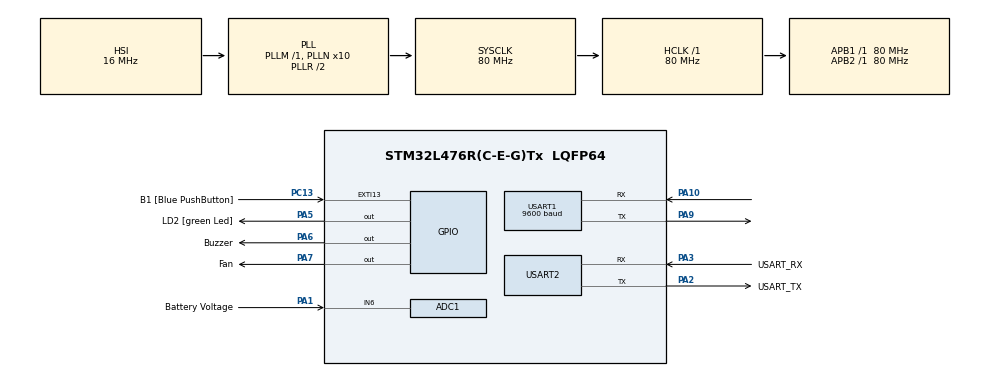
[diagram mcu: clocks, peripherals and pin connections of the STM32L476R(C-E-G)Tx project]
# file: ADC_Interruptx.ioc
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ADC1.Channel-1\#ChannelRegularConversion=ADC_CHANNEL_6
ADC1.EnableAnalogWatchDog1=false
ADC1.NbrOfConversionFlag=1
ADC1.OffsetNumber-1\#ChannelRegularConversion=ADC_OFFSET_NONE
ADC1.Rank-1\#ChannelRegularConversion=1
ADC1.SamplingTime-1\#ChannelRegularConversion=ADC_SAMPLETIME_2CYCLES_5
ADC1.master=1
Mcu.Family=STM32L4
Mcu.Name=STM32L476R(C-E-G)Tx
Mcu.Package=LQFP64
NVIC.PriorityGroup=NVIC_PRIORITYGROUP_4
NVIC.USART1_IRQn=true\:0\:0\:false\:true\:true\:2\:true\:true\:true
NVIC.USART2_IRQn=true\:0\:0\:false\:true\:true\:1\:true\:true\:true
PA1.GPIO_Label=Battery Voltage
PA1.Signal=ADCx_IN6
PA10.Mode=Asynchronous
PA10.Signal=USART1_RX
PA13\ (JTMS-SWDIO).GPIO_Label=TMS
PA13\ (JTMS-SWDIO).Signal=SYS_JTMS-SWDIO
PA14\ (JTCK-SWCLK).GPIO_Label=TCK
PA14\ (JTCK-SWCLK).Signal=SYS_JTCK-SWCLK
PA2.GPIO_Label=USART_TX
PA2.GPIO_Mode=GPIO_MODE_AF_PP
PA2.GPIO_PuPd=GPIO_NOPULL
PA2.GPIO_Speed=GPIO_SPEED_FREQ_VERY_HIGH
PA2.Mode=Asynchronous
PA2.Signal=USART2_TX
PA3.GPIO_Label=USART_RX
PA3.GPIO_Mode=GPIO_MODE_AF_PP
PA3.GPIO_PuPd=GPIO_NOPULL
PA3.GPIO_Speed=GPIO_SPEED_FREQ_VERY_HIGH
PA3.Mode=Asynchronous
PA3.Signal=USART2_RX
PA5.GPIO_Label=LD2 [green Led]
PA5.GPIO_ModeDefaultOutputPP=GPIO_MODE_OUTPUT_PP
PA5.GPIO_PuPd=GPIO_NOPULL
PA5.GPIO_Speed=GPIO_SPEED_FREQ_LOW
PA5.Signal=GPIO_Output
PA6.GPIO_Label=Buzzer
PA6.Signal=GPIO_Output
PA7.GPIO_Label=Fan
PA7.Signal=GPIO_Output
PA9.Mode=Asynchronous
PA9.Signal=USART1_TX
PB3\ (JTDO-TRACESWO).GPIO_Label=SWO
PB3\ (JTDO-TRACESWO).Signal=SYS_JTDO-SWO
PC13.GPIO_Label=B1 [Blue PushButton]
PC13.GPIO_ModeDefaultEXTI=GPIO_MODE_IT_FALLING
PC13.GPIO_PuPd=GPIO_NOPULL
PC13.Signal=GPXTI13
PC14-OSC32_IN\ (PC14).Signal=RCC_OSC32_IN
PC15-OSC32_OUT\ (PC15).Signal=RCC_OSC32_OUT
PH0-OSC_IN\ (PH0).Signal=RCC_OSC_IN
PH1-OSC_OUT\ (PH1).Signal=RCC_OSC_OUT
ProjectManager.HeapSize=0x200
ProjectManager.StackSize=0x400
ProjectManager.TargetToolchain=STM32CubeIDE
RCC.ADCFreq_Value=64000000
RCC.AHBFreq_Value=80000000
RCC.APB1Freq_Value=80000000
RCC.APB1TimFreq_Value=80000000
RCC.APB2Freq_Value=80000000
RCC.APB2TimFreq_Value=80000000
RCC.CortexFreq_Value=80000000
RCC.HCLKFreq_Value=80000000
RCC.HSE_VALUE=8000000
RCC.HSI_VALUE=16000000
RCC.LSE_VALUE=32768
RCC.MSI_VALUE=4000000
RCC.PLLN=10
RCC.PLLSourceVirtual=RCC_PLLSOURCE_HSI
RCC.PREFETCH_ENABLE=1
RCC.SYSCLKFreq_VALUE=80000000
RCC.SYSCLKSource=RCC_SYSCLKSOURCE_PLLCLK
RCC.USBFreq_Value=64000000
RCC.VCOOutputFreq_Value=160000000
SH.ADCx_IN6.0=ADC1_IN6,IN6-Single-Ended
USART1.BaudRate=9600
USART1.VirtualMode-Asynchronous=VM_ASYNC
USART2.VirtualMode-Asynchronous=VM_ASYNC
VP_IWDG_VS_IWDG.Mode=IWDG_Activate
board=NUCLEO-L476RG

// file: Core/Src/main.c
/* USER CODE BEGIN Header */
/**
  ******************************************************************************
  * @file           : main.c
  * @brief          : Main program body
  ******************************************************************************
  * @attention
  *
  * Copyright (c) 2024 STMicroelectronics.
  * All rights reserved.
  *
  * This software is licensed under terms that can be found in the LICENSE file
  * in the root directory of this software component.
  * If no LICENSE file comes with this software, it is provided AS-IS.
  *
  ******************************************************************************
  */
/* USER CODE END Header */
#include "main.h"

/* USER CODE BEGIN Includes */
#include "stdio.h"
#include "string.h"
#include "math.h"
//#include "MPU6050.h"

/* USER CODE END Includes */

 ADC_HandleTypeDef hadc1;

IWDG_HandleTypeDef hiwdg;

UART_HandleTypeDef huart1;
UART_HandleTypeDef huart2;

/* USER CODE BEGIN PV */
volatile uintmax_t counter;
float voltage;
uint8_t receivedData;
volatile uint8_t RxData[20];
char buffer[50];
char charbuffer[50];
uint8_t Cmd_End[3] = {0xFF, 0xFF, 0xFF};

int switchcounter = 0;
/* USER CODE END PV */

void SystemClock_Config(void);
static void MX_GPIO_Init(void);
static void MX_USART2_UART_Init(void);
static void MX_ADC1_Init(void);
static void MX_USART1_UART_Init(void);
static void MX_IWDG_Init(void);
static void MX_NVIC_Init(void);
/* USER CODE BEGIN PFP */

// NEXTION Display FUnction
void NEXTION_SendString (char *ID, char *string)
{
	memset(charbuffer,'\0',50);
    sprintf (charbuffer, "%s.txt=\"%s\"", ID, string);
	HAL_UART_Transmit (&huart1,(uint8_t *) charbuffer, strlen(charbuffer), HAL_MAX_DELAY);
	HAL_UART_Transmit (&huart1, Cmd_End, 3, HAL_MAX_DELAY);
}

// Function to read ADC value and return voltage
float ADC_ReadVoltage(void)
{
    HAL_ADC_Start(&hadc1);
    HAL_ADC_PollForConversion(&hadc1, HAL_MAX_DELAY);
    uint32_t adcValue = HAL_ADC_GetValue(&hadc1);
    HAL_ADC_Stop(&hadc1);

    // Convert ADC value to voltage (3.3V reference, 12-bit resolution)
    float voltage = (adcValue / 4095.0) * 3.3;
    return voltage;
}

// Function to send voltage value over UART
void BatteryVoltage_Status(float voltage)
{
    char buffer[50];

    // Check if the voltage is below or above 1.5V and send appropriate message
    if (voltage < 1.5)
    {
        sprintf(buffer, "Voltage: %.2fV - Battery low, Buzzer ON\r\n", voltage);
        NEXTION_SendString("t4", "Battery Low");
        // Start beeping the buzzer at a 500ms interval
        HAL_GPIO_TogglePin(GPIOA, GPIO_PIN_6);
        // 500ms delay for beep interval

    }
    else
    {
        sprintf(buffer, "Voltage: %.2fV - Battery charged, Buzzer OFF\r\n", voltage);
        NEXTION_SendString("t4", "Battery Charged");
        // Ensure buzzer is OFF if voltage is above 1.5V
        HAL_GPIO_WritePin(GPIOA, GPIO_PIN_6, GPIO_PIN_RESET);
    }

    HAL_UART_Transmit(&huart2, (uint8_t*)buffer, strlen(buffer), HAL_MAX_DELAY);
}

void Fan_Control(void)
{

    // If '1' is received, turn the fan ON
    if (RxData[0] == '1')
    {
        HAL_GPIO_WritePin(GPIOA, GPIO_PIN_7, GPIO_PIN_SET);
        NEXTION_SendString("t1", "Fan ON");

    }
    // If '0' is received, turn the fan OFF
    else
    {
        HAL_GPIO_WritePin(GPIOA, GPIO_PIN_7, GPIO_PIN_RESET);
        NEXTION_SendString("t1", "Fan OFF");
    }
}
void HAL_UART_RxCpltCallback(UART_HandleTypeDef *huart)
{
	HAL_UART_Receive_IT(&huart2, RxData, 1);
}

/* USER CODE END PFP */

/* USER CODE BEGIN 0 */
void Scheduler(void)
{
    if(counter % 100 == 0)
	{
		// Read voltage from ADC
		voltage = ADC_ReadVoltage();
	}
	if(counter % 200 == 0)
	{
		// Check for fan commands from hTerm
		Fan_Control();

	}
	if(counter % 500 == 0)
	{
		// Toggle the heartbeat LED

		HAL_GPIO_TogglePin(GPIOA, GPIO_PIN_5);

		BatteryVoltage_Status(voltage);

		switch(switchcounter)
		{
		   case 1:
			 NEXTION_SendString("t0", "12:00");
			 break;
		   case 2:
			 NEXTION_SendString("t2", "AMR@123");
			 break;
		   default:
			 switchcounter = 0;
			 break;
		}
		switchcounter++;

	}
	if(counter % 1000 == 0)
	{
		//Reset counter
		counter = 0;
	}

}

/* USER CODE END 0 */

int main(void)
{

  /* MCU Configuration--------------------------------------------------------*/

  /* Reset of all peripherals, Initializes the Flash interface and the Systick. */
  HAL_Init();

  /* Configure the system clock */
  SystemClock_Config();

  /* Initialize all configured peripherals */
  MX_GPIO_Init();
  MX_USART2_UART_Init();
  MX_ADC1_Init();
  MX_USART1_UART_Init();
  MX_IWDG_Init();

  /* Initialize interrupts */
  MX_NVIC_Init();
  /* USER CODE BEGIN 2 */
  HAL_UART_Transmit (&huart1, (uint8_t*)"rest", 4, HAL_MAX_DELAY);
  HAL_UART_Transmit (&huart1, Cmd_End, 3, HAL_MAX_DELAY);

//  i2c_init();

  HAL_UART_Receive_IT(&huart2, RxData, 1);
  /* USER CODE END 2 */

  /* Infinite loop */
  while (1)
  {

    /* USER CODE BEGIN 3 */
    Scheduler();

    HAL_IWDG_Refresh(&hiwdg);

  }
  /* USER CODE END 3 */
}

void SystemClock_Config(void)
{
  RCC_OscInitTypeDef RCC_OscInitStruct = {0};
  RCC_ClkInitTypeDef RCC_ClkInitStruct = {0};

  /** Configure the main internal regulator output voltage
  */
  if (HAL_PWREx_ControlVoltageScaling(PWR_REGULATOR_VOLTAGE_SCALE1) != HAL_OK)
  {
    Error_Handler();
  }

  /** Initializes the RCC Oscillators according to the specified parameters
  * in the RCC_OscInitTypeDef structure.
  */
  RCC_OscInitStruct.OscillatorType = RCC_OSCILLATORTYPE_HSI|RCC_OSCILLATORTYPE_LSI;
  RCC_OscInitStruct.HSIState = RCC_HSI_ON;
  RCC_OscInitStruct.HSICalibrationValue = RCC_HSICALIBRATION_DEFAULT;
  RCC_OscInitStruct.LSIState = RCC_LSI_ON;
  RCC_OscInitStruct.PLL.PLLState = RCC_PLL_ON;
  RCC_OscInitStruct.PLL.PLLSource = RCC_PLLSOURCE_HSI;
  RCC_OscInitStruct.PLL.PLLM = 1;
  RCC_OscInitStruct.PLL.PLLN = 10;
  RCC_OscInitStruct.PLL.PLLP = RCC_PLLP_DIV7;
  RCC_OscInitStruct.PLL.PLLQ = RCC_PLLQ_DIV2;
  RCC_OscInitStruct.PLL.PLLR = RCC_PLLR_DIV2;
  if (HAL_RCC_OscConfig(&RCC_OscInitStruct) != HAL_OK)
  {
    Error_Handler();
  }

  /** Initializes the CPU, AHB and APB buses clocks
  */
  RCC_ClkInitStruct.ClockType = RCC_CLOCKTYPE_HCLK|RCC_CLOCKTYPE_SYSCLK
                              |RCC_CLOCKTYPE_PCLK1|RCC_CLOCKTYPE_PCLK2;
  RCC_ClkInitStruct.SYSCLKSource = RCC_SYSCLKSOURCE_PLLCLK;
  RCC_ClkInitStruct.AHBCLKDivider = RCC_SYSCLK_DIV1;
  RCC_ClkInitStruct.APB1CLKDivider = RCC_HCLK_DIV1;
  RCC_ClkInitStruct.APB2CLKDivider = RCC_HCLK_DIV1;

  if (HAL_RCC_ClockConfig(&RCC_ClkInitStruct, FLASH_LATENCY_4) != HAL_OK)
  {
    Error_Handler();
  }
}

/**
  * @brief NVIC Configuration.
  * @retval None
  */
static void MX_NVIC_Init(void)
{
  /* USART2_IRQn interrupt configuration */
  HAL_NVIC_SetPriority(USART2_IRQn, 0, 0);
  HAL_NVIC_EnableIRQ(USART2_IRQn);
  /* USART1_IRQn interrupt configuration */
  HAL_NVIC_SetPriority(USART1_IRQn, 0, 0);
  HAL_NVIC_EnableIRQ(USART1_IRQn);
}

static void MX_ADC1_Init(void)
{

  ADC_MultiModeTypeDef multimode = {0};
  ADC_ChannelConfTypeDef sConfig = {0};

  /** Common config
  */
  hadc1.Instance = ADC1;
  hadc1.Init.ClockPrescaler = ADC_CLOCK_ASYNC_DIV1;
  hadc1.Init.Resolution = ADC_RESOLUTION_12B;
  hadc1.Init.DataAlign = ADC_DATAALIGN_RIGHT;
  hadc1.Init.ScanConvMode = ADC_SCAN_DISABLE;
  hadc1.Init.EOCSelection = ADC_EOC_SINGLE_CONV;
  hadc1.Init.LowPowerAutoWait = DISABLE;
  hadc1.Init.ContinuousConvMode = DISABLE;
  hadc1.Init.NbrOfConversion = 1;
  hadc1.Init.DiscontinuousConvMode = DISABLE;
  hadc1.Init.ExternalTrigConv = ADC_SOFTWARE_START;
  hadc1.Init.ExternalTrigConvEdge = ADC_EXTERNALTRIGCONVEDGE_NONE;
  hadc1.Init.DMAContinuousRequests = DISABLE;
  hadc1.Init.Overrun = ADC_OVR_DATA_PRESERVED;
  hadc1.Init.OversamplingMode = DISABLE;
  if (HAL_ADC_Init(&hadc1) != HAL_OK)
  {
    Error_Handler();
  }

  /** Configure the ADC multi-mode
  */
  multimode.Mode = ADC_MODE_INDEPENDENT;
  if (HAL_ADCEx_MultiModeConfigChannel(&hadc1, &multimode) != HAL_OK)
  {
    Error_Handler();
  }

  /** Configure Regular Channel
  */
  sConfig.Channel = ADC_CHANNEL_6;
  sConfig.Rank = ADC_REGULAR_RANK_1;
  sConfig.SamplingTime = ADC_SAMPLETIME_2CYCLES_5;
  sConfig.SingleDiff = ADC_SINGLE_ENDED;
  sConfig.OffsetNumber = ADC_OFFSET_NONE;
  sConfig.Offset = 0;
  if (HAL_ADC_ConfigChannel(&hadc1, &sConfig) != HAL_OK)
  {
    Error_Handler();
  }

}

static void MX_IWDG_Init(void)
{

  hiwdg.Instance = IWDG;
  hiwdg.Init.Prescaler = IWDG_PRESCALER_4;
  hiwdg.Init.Window = 4095;
  hiwdg.Init.Reload = 4095;
  if (HAL_IWDG_Init(&hiwdg) != HAL_OK)
  {
    Error_Handler();
  }

}

static void MX_USART1_UART_Init(void)
{

  huart1.Instance = USART1;
  huart1.Init.BaudRate = 9600;
  huart1.Init.WordLength = UART_WORDLENGTH_8B;
  huart1.Init.StopBits = UART_STOPBITS_1;
  huart1.Init.Parity = UART_PARITY_NONE;
  huart1.Init.Mode = UART_MODE_TX_RX;
  huart1.Init.HwFlowCtl = UART_HWCONTROL_NONE;
  huart1.Init.OverSampling = UART_OVERSAMPLING_16;
  huart1.Init.OneBitSampling = UART_ONE_BIT_SAMPLE_DISABLE;
  huart1.AdvancedInit.AdvFeatureInit = UART_ADVFEATURE_NO_INIT;
  if (HAL_UART_Init(&huart1) != HAL_OK)
  {
    Error_Handler();
  }

}

static void MX_USART2_UART_Init(void)
{

  huart2.Instance = USART2;
  huart2.Init.BaudRate = 115200;
  huart2.Init.WordLength = UART_WORDLENGTH_8B;
  huart2.Init.StopBits = UART_STOPBITS_1;
  huart2.Init.Parity = UART_PARITY_NONE;
  huart2.Init.Mode = UART_MODE_TX_RX;
  huart2.Init.HwFlowCtl = UART_HWCONTROL_NONE;
  huart2.Init.OverSampling = UART_OVERSAMPLING_16;
  huart2.Init.OneBitSampling = UART_ONE_BIT_SAMPLE_DISABLE;
  huart2.AdvancedInit.AdvFeatureInit = UART_ADVFEATURE_NO_INIT;
  if (HAL_UART_Init(&huart2) != HAL_OK)
  {
    Error_Handler();
  }

}

static void MX_GPIO_Init(void)
{
  GPIO_InitTypeDef GPIO_InitStruct = {0};

  /* GPIO Ports Clock Enable */
  __HAL_RCC_GPIOC_CLK_ENABLE();
  __HAL_RCC_GPIOH_CLK_ENABLE();
  __HAL_RCC_GPIOA_CLK_ENABLE();
  __HAL_RCC_GPIOB_CLK_ENABLE();

  /*Configure GPIO pin Output Level */
  HAL_GPIO_WritePin(GPIOA, LD2_Pin|Buzzer_Pin|Fan_Pin, GPIO_PIN_RESET);

  /*Configure GPIO pin : B1_Pin */
  GPIO_InitStruct.Pin = B1_Pin;
  GPIO_InitStruct.Mode = GPIO_MODE_IT_FALLING;
  GPIO_InitStruct.Pull = GPIO_NOPULL;
  HAL_GPIO_Init(B1_GPIO_Port, &GPIO_InitStruct);

  /*Configure GPIO pins : LD2_Pin Buzzer_Pin Fan_Pin */
  GPIO_InitStruct.Pin = LD2_Pin|Buzzer_Pin|Fan_Pin;
  GPIO_InitStruct.Mode = GPIO_MODE_OUTPUT_PP;
  GPIO_InitStruct.Pull = GPIO_NOPULL;
  GPIO_InitStruct.Speed = GPIO_SPEED_FREQ_LOW;
  HAL_GPIO_Init(GPIOA, &GPIO_InitStruct);

}

void Error_Handler(void)
{
  __disable_irq();
  while (1)
  {
  }
}
